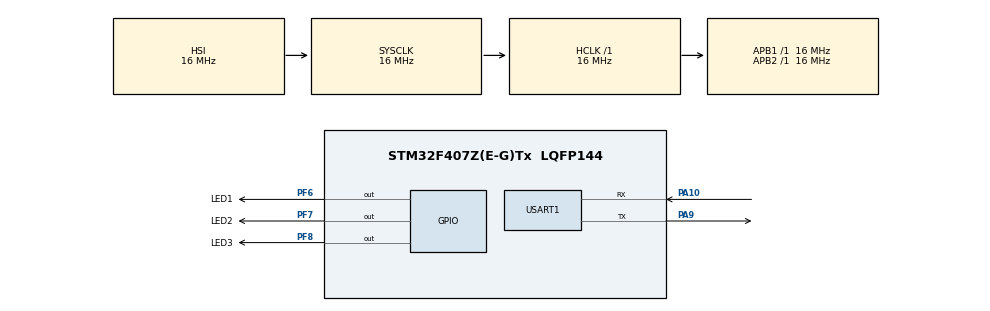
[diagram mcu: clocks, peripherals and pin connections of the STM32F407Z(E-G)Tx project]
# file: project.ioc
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Mcu.Family=STM32F4
Mcu.Name=STM32F407Z(E-G)Tx
Mcu.Package=LQFP144
NVIC.PriorityGroup=NVIC_PRIORITYGROUP_4
PA10.Mode=Asynchronous
PA10.Signal=USART1_RX
PA9.Mode=Asynchronous
PA9.Signal=USART1_TX
PF6.GPIO_Label=LED1
PF6.Signal=GPIO_Output
PF7.GPIO_Label=LED2
PF7.Signal=GPIO_Output
PF8.GPIO_Label=LED3
PF8.Signal=GPIO_Output
ProjectManager.HeapSize=0x200
ProjectManager.StackSize=0x400
ProjectManager.TargetToolchain=STM32CubeIDE
RCC.AHBFreq_Value=16000000
RCC.APB1Freq_Value=16000000
RCC.APB2Freq_Value=16000000
RCC.CortexFreq_Value=16000000
RCC.HSE_VALUE=25000000
RCC.HSI_VALUE=16000000
RCC.LSE_VALUE=32768
RCC.SYSCLKFreq_VALUE=16000000
RCC.VCOOutputFreq_Value=192000000
USART1.VirtualMode=VM_ASYNC
board=custom

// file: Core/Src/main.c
/* USER CODE BEGIN Header */
/**
  ******************************************************************************
  * @file           : main.c
  * @brief          : Main program body
  ******************************************************************************
  * @attention
  *
  * Copyright (c) 2026 STMicroelectronics.
  * All rights reserved.
  *
  * This software is licensed under terms that can be found in the LICENSE file
  * in the root directory of this software component.
  * If no LICENSE file comes with this software, it is provided AS-IS.
  *
  ******************************************************************************
  */
/* USER CODE END Header */
#include "main.h"

/* USER CODE BEGIN Includes */
#include <stdio.h>

/* USER CODE END Includes */

UART_HandleTypeDef huart1;

void SystemClock_Config(void);
static void MX_GPIO_Init(void);
static void MX_USART1_UART_Init(void);

/* USER CODE BEGIN 0 */

#ifdef __GNUC__
/* With GCC, small printf (option LD Linker->Libraries->Small printf
   set to 'Yes') calls __io_putchar() */
#define PUTCHAR_PROTOTYPE int __io_putchar(int ch)
#else
#define PUTCHAR_PROTOTYPE int fputc(int ch, FILE *f)
#endif /* __GNUC__ */

/**
  * @brief  Retargets the C library printf function to the USART.
  * @param  None
  * @retval None
  */
PUTCHAR_PROTOTYPE
{
    /* Place your implementation of fputc here */
    /* e.g. write a character to the USART1 and Loop until the end of transmission */

    /* Write a character to the USART */
    if(ch == '\n')
    {
        ch = '\r';
        HAL_UART_Transmit(&huart1, (uint8_t *)&ch, 1, 0xFFFF);
        ch = '\n';
        HAL_UART_Transmit(&huart1, (uint8_t *)&ch, 1, 0xFFFF);
    }else {
        HAL_UART_Transmit(&huart1, (uint8_t *)&ch, 1, 0xFFFF);
    }

    return ch;
}

/* USER CODE END 0 */

int main(void)
{

  /* MCU Configuration--------------------------------------------------------*/

  /* Reset of all peripherals, Initializes the Flash interface and the Systick. */
  HAL_Init();

  /* Configure the system clock */
  SystemClock_Config();

  /* Initialize all configured peripherals */
  MX_GPIO_Init();
  MX_USART1_UART_Init();

  /* Infinite loop */
  /* USER CODE BEGIN WHILE */
  while (1)
  {
    printf("Hello World! - Mango ^)^\n");
    HAL_Delay(1000);

    /* USER CODE END WHILE */

  }
}

void SystemClock_Config(void)
{
  RCC_OscInitTypeDef RCC_OscInitStruct = {0};
  RCC_ClkInitTypeDef RCC_ClkInitStruct = {0};

  /** Configure the main internal regulator output voltage
  */
  __HAL_RCC_PWR_CLK_ENABLE();
  __HAL_PWR_VOLTAGESCALING_CONFIG(PWR_REGULATOR_VOLTAGE_SCALE1);

  /** Initializes the RCC Oscillators according to the specified parameters
  * in the RCC_OscInitTypeDef structure.
  */
  RCC_OscInitStruct.OscillatorType = RCC_OSCILLATORTYPE_HSI;
  RCC_OscInitStruct.HSIState = RCC_HSI_ON;
  RCC_OscInitStruct.HSICalibrationValue = RCC_HSICALIBRATION_DEFAULT;
  RCC_OscInitStruct.PLL.PLLState = RCC_PLL_NONE;
  if (HAL_RCC_OscConfig(&RCC_OscInitStruct) != HAL_OK)
  {
    Error_Handler();
  }

  /** Initializes the CPU, AHB and APB buses clocks
  */
  RCC_ClkInitStruct.ClockType = RCC_CLOCKTYPE_HCLK|RCC_CLOCKTYPE_SYSCLK
                              |RCC_CLOCKTYPE_PCLK1|RCC_CLOCKTYPE_PCLK2;
  RCC_ClkInitStruct.SYSCLKSource = RCC_SYSCLKSOURCE_HSI;
  RCC_ClkInitStruct.AHBCLKDivider = RCC_SYSCLK_DIV1;
  RCC_ClkInitStruct.APB1CLKDivider = RCC_HCLK_DIV1;
  RCC_ClkInitStruct.APB2CLKDivider = RCC_HCLK_DIV1;

  if (HAL_RCC_ClockConfig(&RCC_ClkInitStruct, FLASH_LATENCY_0) != HAL_OK)
  {
    Error_Handler();
  }
}

static void MX_USART1_UART_Init(void)
{

  huart1.Instance = USART1;
  huart1.Init.BaudRate = 115200;
  huart1.Init.WordLength = UART_WORDLENGTH_8B;
  huart1.Init.StopBits = UART_STOPBITS_1;
  huart1.Init.Parity = UART_PARITY_NONE;
  huart1.Init.Mode = UART_MODE_TX_RX;
  huart1.Init.HwFlowCtl = UART_HWCONTROL_NONE;
  huart1.Init.OverSampling = UART_OVERSAMPLING_16;
  if (HAL_UART_Init(&huart1) != HAL_OK)
  {
    Error_Handler();
  }

}

static void MX_GPIO_Init(void)
{
  GPIO_InitTypeDef GPIO_InitStruct = {0};

  /* GPIO Ports Clock Enable */
  __HAL_RCC_GPIOF_CLK_ENABLE();
  __HAL_RCC_GPIOA_CLK_ENABLE();

  /*Configure GPIO pin Output Level */
  HAL_GPIO_WritePin(GPIOF, LED1_Pin|LED2_Pin|LED3_Pin, GPIO_PIN_RESET);

  /*Configure GPIO pins : LED1_Pin LED2_Pin LED3_Pin */
  GPIO_InitStruct.Pin = LED1_Pin|LED2_Pin|LED3_Pin;
  GPIO_InitStruct.Mode = GPIO_MODE_OUTPUT_PP;
  GPIO_InitStruct.Pull = GPIO_NOPULL;
  GPIO_InitStruct.Speed = GPIO_SPEED_FREQ_LOW;
  HAL_GPIO_Init(GPIOF, &GPIO_InitStruct);

}

void Error_Handler(void)
{
  __disable_irq();
  while (1)
  {
  }
}
